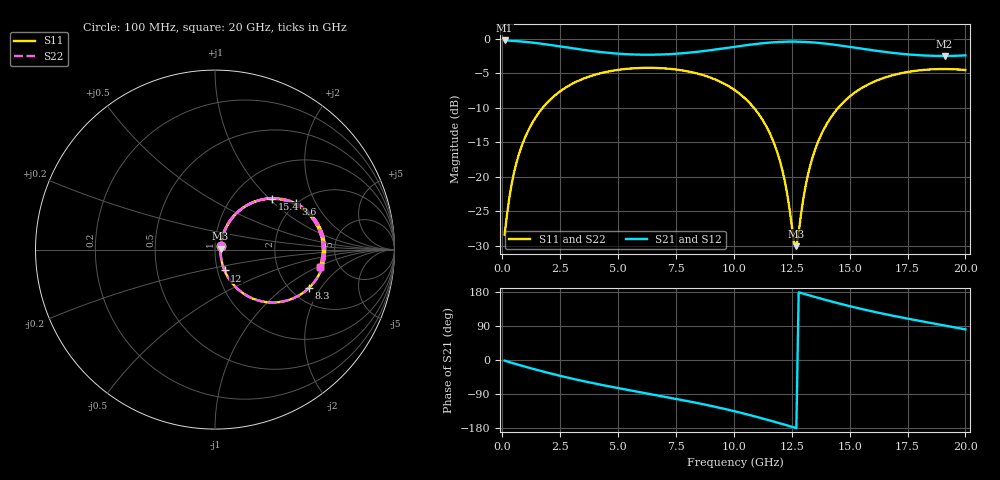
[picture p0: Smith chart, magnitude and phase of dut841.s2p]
! Touchstone file exported from HFSS 2026.1.0
!  File:  C:/ffzhzh/LocalFiles/Ansys_Project_Files/temp_train_TSV_RDL_841_1783268253_39728.aedt
!  Generated:  12:29:24 AM Jul  6, 2026
!  Design:  TSV_RDL
!  Project:  temp_train_TSV_RDL_841_1783268253_39728
! Variables:
!  h_bsmrdl = 2.79um
!  h_ox = 20um
!  h_rdl = 5um
!  h_sub = 81.32um
!  h_tmrdl = 2.97um
!  h_tsv = 81.32um
!  h_via = 3um
!  l_bsmrdl = 403.59um
!  l_sub = 4732.1um
!  l_tmrdl = 756.46um
!  m_sub = 200um
!  pitch = 50.07um
!  r_tsv = 7.3um
!  s_tmrdl = 10um
!  w_bsmrdl = 12.26um
!  w_sub = 500um
!  w_tmrdl = 19.57um
!  x_tsv_center1 = 766.245um
!  x_tsv_center2 = 1182.095um
!  x_tsv_center3 = 1958.125um
!  x_tsv_center4 = 2373.975um
!  x_tsv_center5 = 3150.005um
!  x_tsv_center6 = 3565.855um
# GHz S MA R 50.000000
! Terminal data exported
! Port[1] = TM_RDL1_1_T1
! Port[2] = TM_RDL5_1_T1
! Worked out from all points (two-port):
!   200 points, 100 MHz to 20 GHz, reference 50 ohm
!   highest |S21| = -0.28 dB at 100 MHz (marker M1); lowest = -2.5 dB at 19.1 GHz (marker M2)
!   |S21| within 3 dB of the highest: start of sweep to end of sweep
!   lowest |S11| = -30.1 dB at 12.7 GHz (marker M3), VSWR 1.06, Z = 53.2 + j0.542 ohm
!   |S11| at or under -10 dB: start of sweep to 1.755 GHz; 10.86 GHz to 14.52 GHz (3.663 GHz wide, 28.9 % of centre)
!   |S22| runs from -30.1 to -4.2 dB; largest |S21 - S12| = 1.7e-14
!   S11 on the Smith chart (normalised r, x): 100 MHz: 1.07, +0.04; 3.6 GHz: 1.99, +1.40; 8.3 GHz: 2.47, -1.56; 12 GHz: 1.08, -0.26; 15.4 GHz: 1.50, +1.04; 20 GHz: 3.55, -1.07
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0.1  0.038 31.3  0.968 -1.9  0.968 -1.9  0.038 31.3
! Gamma 0 0 0 0
! Port Impedance 50 0 50 0
0.5  0.1056 61.8  0.9605 -9.1  0.9605 -9.1  0.1056 61.8
1.2  0.2289 59.7  0.9378 -21.2  0.9378 -21.2  0.2289 59.7
2.2  0.3778 47.4  0.891 -37.3  0.891 -37.3  0.3778 47.4
3.5  0.5118 30.9  0.8272 -55.7  0.8272 -55.7  0.5118 30.9
3.6  0.5194 29.6  0.8229 -57.0  0.8229 -57.0  0.5194 29.7
5.2  0.5986 11.4  0.7727 -76.4  0.7727 -76.4  0.5986 11.4
6.8  0.6105 -5.8  0.765 -94.4  0.765 -94.4  0.6105 -5.8
8.3  0.5642 -22.5  0.797 -112.0  0.797 -112.0  0.5642 -22.5
10.1  0.4158 -44.9  0.8739 -136.3  0.8739 -136.3  0.4158 -44.9
11.2  0.2637 -59.3  0.9226 -153.6  0.9226 -153.6  0.2637 -59.3
12  0.128 -65.4  0.945 -167.3  0.945 -167.3  0.128 -65.4
12.3  0.07556 -60.4  0.9487 -172.6  0.9487 -172.6  0.07558 -60.4
12.6  0.03339 -22.4  0.9494 -177.9  0.9494 -177.9  0.03337 -22.4
12.7  0.03132 9.4  0.949 -179.7  0.949 -179.7  0.03129 9.3
13.1  0.08586 60.8  0.9442 173.3  0.9442 173.3  0.08582 60.9
13.4  0.1379 63.9  0.9373 168.1  0.9373 168.1  0.1379 63.9
14.2  0.2696 57.1  0.9081 154.6  0.9081 154.6  0.2696 57.2
15.4  0.4253 41.8  0.85 136.3  0.85 136.3  0.4253 41.9
16.7  0.5328 26.0  0.7926 118.9  0.7926 118.9  0.5328 26.0
19.1  0.6011 -0.0  0.7476 91.0  0.7476 91.0  0.6011 0.0
20  0.5911 -9.5  0.7545 80.8  0.7545 80.8  0.5911 -9.4
